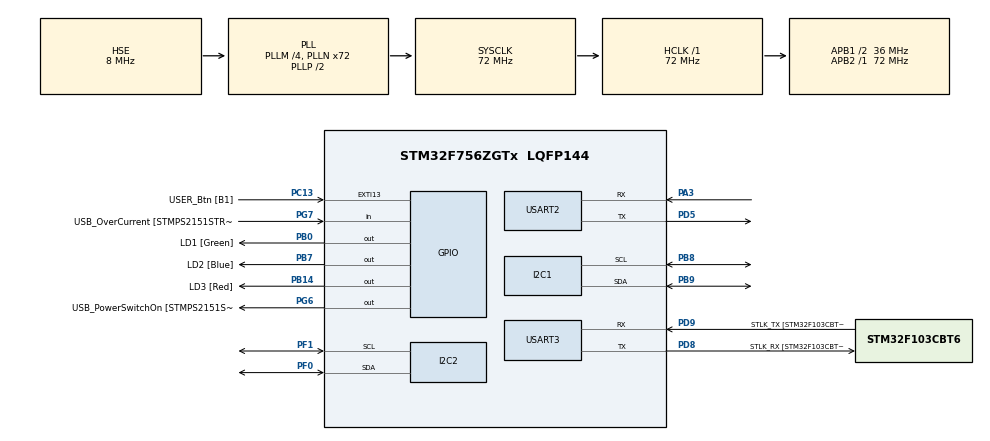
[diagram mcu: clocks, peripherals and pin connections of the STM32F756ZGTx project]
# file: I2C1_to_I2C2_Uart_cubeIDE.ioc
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I2C1.OwnAddress=0x10
I2C1.Timing=0x00808CD2
I2C2.OwnAddress=0x22
I2C2.Timing=0x00808CD2
Mcu.Family=STM32F7
Mcu.Name=STM32F756ZGTx
Mcu.Package=LQFP144
NVIC.EXTI15_10_IRQn=true\:0\:0\:false\:false\:true\:true\:true\:true
NVIC.I2C1_EV_IRQn=true\:0\:0\:false\:false\:true\:true\:true\:true
NVIC.I2C2_EV_IRQn=true\:0\:0\:false\:false\:true\:true\:true\:true
NVIC.PriorityGroup=NVIC_PRIORITYGROUP_4
NVIC.USART2_IRQn=true\:0\:0\:false\:false\:true\:true\:true\:true
PA1.GPIO_Label=RMII_REF_CLK [LAN8742A-CZ-TR_REFCLK0]
PA1.Signal=ETH_REF_CLK
PA10.GPIO_Label=USB_ID
PA10.Signal=USB_OTG_FS_ID
PA11.GPIO_Label=USB_DM
PA11.Signal=USB_OTG_FS_DM
PA12.GPIO_Label=USB_DP
PA12.Signal=USB_OTG_FS_DP
PA13.GPIO_Label=TMS
PA13.Mode=Serial_Wire
PA13.Signal=SYS_JTMS-SWDIO
PA14.GPIO_Label=TCK
PA14.Mode=Serial_Wire
PA14.Signal=SYS_JTCK-SWCLK
PA2.GPIO_Label=RMII_MDIO [LAN8742A-CZ-TR_MDIO]
PA2.Signal=ETH_MDIO
PA3.Mode=Asynchronous
PA3.Signal=USART2_RX
PA7.GPIO_Label=RMII_CRS_DV [LAN8742A-CZ-TR_CRS_DV]
PA7.Signal=ETH_CRS_DV
PA8.GPIO_Label=USB_SOF [TP1]
PA8.Signal=USB_OTG_FS_SOF
PA9.GPIO_Label=USB_VBUS
PA9.Signal=USB_OTG_FS_VBUS
PB0.GPIO_Label=LD1 [Green]
PB0.Signal=GPIO_Output
PB13.GPIO_Label=RMII_TXD1 [LAN8742A-CZ-TR_TXD1]
PB13.Signal=ETH_TXD1
PB14.GPIO_Label=LD3 [Red]
PB14.Signal=GPIO_Output
PB3.GPIO_Label=SW0
PB3.Signal=SYS_JTDO-SWO
PB7.GPIO_Label=LD2 [Blue]
PB7.Signal=GPIO_Output
PB8.GPIO_Pu=GPIO_PULLUP
PB8.Mode=I2C
PB8.Signal=I2C1_SCL
PB9.GPIO_Pu=GPIO_PULLUP
PB9.Mode=I2C
PB9.Signal=I2C1_SDA
PC1.GPIO_Label=RMII_MDC [LAN8742A-CZ-TR_MDC]
PC1.Signal=ETH_MDC
PC13.GPIO_Label=USER_Btn [B1]
PC13.Signal=GPXTI13
PC14/OSC32_IN.Mode=LSE-External-Oscillator
PC14/OSC32_IN.Signal=RCC_OSC32_IN
PC15/OSC32_OUT.Mode=LSE-External-Oscillator
PC15/OSC32_OUT.Signal=RCC_OSC32_OUT
PC4.GPIO_Label=RMII_RXD0 [LAN8742A-CZ-TR_RXD0]
PC4.Signal=ETH_RXD0
PC5.GPIO_Label=RMII_RXD1 [LAN8742A-CZ-TR_RXD1]
PC5.Signal=ETH_RXD1
PD5.Mode=Asynchronous
PD5.Signal=USART2_TX
PD8.GPIO_Label=STLK_RX [STM32F103CBT6_PA3]
PD8.Mode=Asynchronous
PD8.Signal=USART3_TX
PD9.GPIO_Label=STLK_TX [STM32F103CBT6_PA2]
PD9.Mode=Asynchronous
PD9.Signal=USART3_RX
PF0.GPIO_Pu=GPIO_PULLUP
PF0.Mode=I2C
PF0.Signal=I2C2_SDA
PF1.GPIO_Pu=GPIO_PULLUP
PF1.Mode=I2C
PF1.Signal=I2C2_SCL
PG11.GPIO_Label=RMII_TX_EN [LAN8742A-CZ-TR_TXEN]
PG11.Signal=ETH_TX_EN
PG13.GPIO_Label=RMII_TXD0 [LAN8742A-CZ-TR_TXD0]
PG13.Signal=ETH_TXD0
PG6.GPIO_Label=USB_PowerSwitchOn [STMPS2151STR_EN]
PG6.Signal=GPIO_Output
PG7.GPIO_Label=USB_OverCurrent [STMPS2151STR_FAULT]
PG7.Signal=GPIO_Input
PH0/OSC_IN.GPIO_Label=MCO [STM32F103CBT6_PA8]
PH0/OSC_IN.Mode=HSE-External-Clock-Source
PH0/OSC_IN.Signal=RCC_OSC_IN
PH1/OSC_OUT.Mode=HSE-External-Clock-Source
PH1/OSC_OUT.Signal=RCC_OSC_OUT
ProjectManager.HeapSize=0x200
ProjectManager.StackSize=0x400
ProjectManager.TargetToolchain=STM32CubeIDE
RCC.48MHZClocksFreq_Value=24000000
RCC.AHBFreq_Value=72000000
RCC.APB1CLKDivider=RCC_HCLK_DIV2
RCC.APB1Freq_Value=36000000
RCC.APB1TimFreq_Value=72000000
RCC.APB2Freq_Value=72000000
RCC.APB2TimFreq_Value=72000000
RCC.CortexFreq_Value=72000000
RCC.HCLKFreq_Value=72000000
RCC.HSE_VALUE=8000000
RCC.HSI_VALUE=16000000
RCC.PLLM=4
RCC.PLLMUL=RCC_PLL_MUL9
RCC.PLLN=72
RCC.PLLQ=3
RCC.PLLSourceVirtual=RCC_PLLSOURCE_HSE
RCC.PRESCALERUSB=RCC_USBCLKSOURCE_PLL_DIV1_5
RCC.SYSCLKFreq_VALUE=72000000
RCC.SYSCLKSource=RCC_SYSCLKSOURCE_PLLCLK
RCC.SYSCLKSourceVirtual=RCC_SYSCLKSOURCE_PLLCLK
RCC.USBFreq_Value=48000000
RCC.VCOOutputFreq_Value=144000000
USART2.VirtualMode-Asynchronous=VM_ASYNC
USART3.VirtualMode-Asynchronous=VM_ASYNC
board=NUCLEO-F756ZG

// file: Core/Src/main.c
/* USER CODE BEGIN Header */
/**
  ******************************************************************************
  * @file           : main.c
  * @brief          : Main program body
  ******************************************************************************
  * @attention
  *
  * Copyright (c) 2025 STMicroelectronics.
  * All rights reserved.
  *
  * This software is licensed under terms that can be found in the LICENSE file
  * in the root directory of this software component.
  * If no LICENSE file comes with this software, it is provided AS-IS.
  *
  ******************************************************************************
  */
/* USER CODE END Header */
#include "main.h"

/* USER CODE BEGIN Includes */
#include <stdio.h>
#include <string.h>
#include "crc.h"
#include "serials.h"

/* USER CODE END Includes */

/* USER CODE BEGIN PM */
#define UART_BUFFER_SIZE 100
#define I2C_BUFFER_SIZE 100
/* USER CODE END PM */

I2C_HandleTypeDef hi2c1;
I2C_HandleTypeDef hi2c2;

UART_HandleTypeDef huart2;
UART_HandleTypeDef huart3;

/* USER CODE BEGIN PV */
uint8_t data_rsv1[I2C_BUFFER_SIZE + 2] = {0};
uint8_t uart_buffer[UART_BUFFER_SIZE + 2] = {0};
uint8_t i2c2_buffer[I2C_BUFFER_SIZE + 2] = {0};
uint8_t urat_data_print[UART_BUFFER_SIZE + 20] = {"UART2 data test \r\n"};

uint8_t uart2_flag_calback = 0;
uint8_t uart2_flag_h = 0;
uint8_t i2c2_flag_h = 0;

uint8_t txBufDynamic[100] = {
    0x00, 0x01, 0x02, 0x03, 0x04, 0x05, 0x06, 0x07,
    0x08, 0x09, 0x0A, 0x0B, 0x0C, 0x0D, 0x0E, 0x0F,
    0x10, 0x11, 0x12, 0x13, 0x14, 0x15, 0x16, 0x17,
    0x18, 0x19, 0x1A, 0x1B, 0x1C, 0x1D, 0x1E, 0x1F,
    0x20, 0x21, 0x22, 0x23, 0x24, 0x25, 0x26, 0x27,
    0x28, 0x29, 0x2A, 0x2B, 0x2C, 0x2D, 0x2E, 0x2F,
    0x30, 0x31, 0x32, 0x33, 0x34, 0x35, 0x36, 0x37,
    0x38, 0x39, 0x3A, 0x3B, 0x3C, 0x3D, 0x3E, 0x3F,
    0x40, 0x41, 0x42, 0x43, 0x44, 0x45, 0x46, 0x47,
    0x48, 0x49, 0x4A, 0x4B, 0x4C, 0x4D, 0x4E, 0x4F,
    0x50, 0x51, 0x52, 0x53, 0x54, 0x55, 0x56, 0x57,
    0x58, 0x59, 0x5A, 0x5B, 0x5C, 0x5D, 0x5E, 0x5F,
    0x60, 0x61, 0x62, 0x63};

int i = 0;
/* USER CODE END PV */

void SystemClock_Config(void);
static void MX_GPIO_Init(void);
static void MX_I2C1_Init(void);
static void MX_I2C2_Init(void);
static void MX_USART2_UART_Init(void);
static void MX_USART3_UART_Init(void);
/* USER CODE BEGIN PFP */
void main_loop(void);
void HAL_I2C_SlaveRxCpltCallback(I2C_HandleTypeDef *hi2c);
void HAL_UART_RxCpltCallback(UART_HandleTypeDef *huart);
/* USER CODE END PFP */

int main(void)
{

  /* MCU Configuration--------------------------------------------------------*/

  /* Reset of all peripherals, Initializes the Flash interface and the Systick. */
  HAL_Init();

  /* USER CODE BEGIN Init */
  // 0123456789
  /* USER CODE END Init */

  /* Configure the system clock */
  SystemClock_Config();

  /* Initialize all configured peripherals */
  MX_GPIO_Init();
  MX_I2C1_Init();
  MX_I2C2_Init();
  MX_USART2_UART_Init();
  MX_USART3_UART_Init();
  /* USER CODE BEGIN 2 */

  // initialize interrupts for I2C2 and UART2

  printf("Starting program\r\n");
  if (HAL_I2C_Slave_Receive_IT(&hi2c2, data_rsv1, 102) != HAL_OK)
  {
    printf("Error setting up I2C slave receive IT\r\n");
    Error_Handler();
  }

  if (HAL_UART_Receive_IT(&huart2, uart_buffer, 10) != HAL_OK)
  {
    printf("Error setting up UART receive IT\r\n");
    Error_Handler();
  }

  /* USER CODE END 2 */

  /* Infinite loop */
  /* USER CODE BEGIN WHILE */
  while (1)
  {
    uint8_t result = check_uart_buffer(uart_buffer, &uart2_flag_calback, UART_BUFFER_SIZE);
    if (result == 0)
    {
      printf("UART buffer transfer complete\r\n");
      result = check_i2c2_buffer(data_rsv1, &i2c2_flag_h, I2C_BUFFER_SIZE);
      if (result == 0)
      {
        printf("I2C buffer transfer complete\r\n");
        HAL_UART_Transmit(&huart2, (uint8_t *)"The data received OK\r\n", 22, 1000);
      }
    }
    HAL_Delay(1);

    /* USER CODE END WHILE */

  }
}

void SystemClock_Config(void)
{
  RCC_OscInitTypeDef RCC_OscInitStruct = {0};
  RCC_ClkInitTypeDef RCC_ClkInitStruct = {0};

  /** Configure LSE Drive Capability
  */
  HAL_PWR_EnableBkUpAccess();

  /** Configure the main internal regulator output voltage
  */
  __HAL_RCC_PWR_CLK_ENABLE();
  __HAL_PWR_VOLTAGESCALING_CONFIG(PWR_REGULATOR_VOLTAGE_SCALE3);

  /** Initializes the RCC Oscillators according to the specified parameters
  * in the RCC_OscInitTypeDef structure.
  */
  RCC_OscInitStruct.OscillatorType = RCC_OSCILLATORTYPE_HSE;
  RCC_OscInitStruct.HSEState = RCC_HSE_BYPASS;
  RCC_OscInitStruct.PLL.PLLState = RCC_PLL_ON;
  RCC_OscInitStruct.PLL.PLLSource = RCC_PLLSOURCE_HSE;
  RCC_OscInitStruct.PLL.PLLM = 4;
  RCC_OscInitStruct.PLL.PLLN = 72;
  RCC_OscInitStruct.PLL.PLLP = RCC_PLLP_DIV2;
  RCC_OscInitStruct.PLL.PLLQ = 3;
  if (HAL_RCC_OscConfig(&RCC_OscInitStruct) != HAL_OK)
  {
    Error_Handler();
  }

  /** Initializes the CPU, AHB and APB buses clocks
  */
  RCC_ClkInitStruct.ClockType = RCC_CLOCKTYPE_HCLK|RCC_CLOCKTYPE_SYSCLK
                              |RCC_CLOCKTYPE_PCLK1|RCC_CLOCKTYPE_PCLK2;
  RCC_ClkInitStruct.SYSCLKSource = RCC_SYSCLKSOURCE_PLLCLK;
  RCC_ClkInitStruct.AHBCLKDivider = RCC_SYSCLK_DIV1;
  RCC_ClkInitStruct.APB1CLKDivider = RCC_HCLK_DIV2;
  RCC_ClkInitStruct.APB2CLKDivider = RCC_HCLK_DIV1;

  if (HAL_RCC_ClockConfig(&RCC_ClkInitStruct, FLASH_LATENCY_2) != HAL_OK)
  {
    Error_Handler();
  }
}

static void MX_I2C1_Init(void)
{

  hi2c1.Instance = I2C1;
  hi2c1.Init.Timing = 0x00808CD2;
  hi2c1.Init.OwnAddress1 = 32;
  hi2c1.Init.AddressingMode = I2C_ADDRESSINGMODE_7BIT;
  hi2c1.Init.DualAddressMode = I2C_DUALADDRESS_DISABLE;
  hi2c1.Init.OwnAddress2 = 0;
  hi2c1.Init.OwnAddress2Masks = I2C_OA2_NOMASK;
  hi2c1.Init.GeneralCallMode = I2C_GENERALCALL_DISABLE;
  hi2c1.Init.NoStretchMode = I2C_NOSTRETCH_DISABLE;
  if (HAL_I2C_Init(&hi2c1) != HAL_OK)
  {
    Error_Handler();
  }

  /** Configure Analogue filter
  */
  if (HAL_I2CEx_ConfigAnalogFilter(&hi2c1, I2C_ANALOGFILTER_ENABLE) != HAL_OK)
  {
    Error_Handler();
  }

  /** Configure Digital filter
  */
  if (HAL_I2CEx_ConfigDigitalFilter(&hi2c1, 0) != HAL_OK)
  {
    Error_Handler();
  }

}

static void MX_I2C2_Init(void)
{

  hi2c2.Instance = I2C2;
  hi2c2.Init.Timing = 0x00808CD2;
  hi2c2.Init.OwnAddress1 = 68;
  hi2c2.Init.AddressingMode = I2C_ADDRESSINGMODE_7BIT;
  hi2c2.Init.DualAddressMode = I2C_DUALADDRESS_DISABLE;
  hi2c2.Init.OwnAddress2 = 0;
  hi2c2.Init.OwnAddress2Masks = I2C_OA2_NOMASK;
  hi2c2.Init.GeneralCallMode = I2C_GENERALCALL_DISABLE;
  hi2c2.Init.NoStretchMode = I2C_NOSTRETCH_DISABLE;
  if (HAL_I2C_Init(&hi2c2) != HAL_OK)
  {
    Error_Handler();
  }

  /** Configure Analogue filter
  */
  if (HAL_I2CEx_ConfigAnalogFilter(&hi2c2, I2C_ANALOGFILTER_ENABLE) != HAL_OK)
  {
    Error_Handler();
  }

  /** Configure Digital filter
  */
  if (HAL_I2CEx_ConfigDigitalFilter(&hi2c2, 0) != HAL_OK)
  {
    Error_Handler();
  }

}

static void MX_USART2_UART_Init(void)
{

  huart2.Instance = USART2;
  huart2.Init.BaudRate = 115200;
  huart2.Init.WordLength = UART_WORDLENGTH_8B;
  huart2.Init.StopBits = UART_STOPBITS_1;
  huart2.Init.Parity = UART_PARITY_NONE;
  huart2.Init.Mode = UART_MODE_TX_RX;
  huart2.Init.HwFlowCtl = UART_HWCONTROL_NONE;
  huart2.Init.OverSampling = UART_OVERSAMPLING_16;
  huart2.Init.OneBitSampling = UART_ONE_BIT_SAMPLE_DISABLE;
  huart2.AdvancedInit.AdvFeatureInit = UART_ADVFEATURE_NO_INIT;
  if (HAL_UART_Init(&huart2) != HAL_OK)
  {
    Error_Handler();
  }

}

static void MX_USART3_UART_Init(void)
{

  huart3.Instance = USART3;
  huart3.Init.BaudRate = 115200;
  huart3.Init.WordLength = UART_WORDLENGTH_8B;
  huart3.Init.StopBits = UART_STOPBITS_1;
  huart3.Init.Parity = UART_PARITY_NONE;
  huart3.Init.Mode = UART_MODE_TX_RX;
  huart3.Init.HwFlowCtl = UART_HWCONTROL_NONE;
  huart3.Init.OverSampling = UART_OVERSAMPLING_16;
  huart3.Init.OneBitSampling = UART_ONE_BIT_SAMPLE_DISABLE;
  huart3.AdvancedInit.AdvFeatureInit = UART_ADVFEATURE_NO_INIT;
  if (HAL_UART_Init(&huart3) != HAL_OK)
  {
    Error_Handler();
  }

}

static void MX_GPIO_Init(void)
{
  GPIO_InitTypeDef GPIO_InitStruct = {0};

  /* GPIO Ports Clock Enable */
  __HAL_RCC_GPIOC_CLK_ENABLE();
  __HAL_RCC_GPIOF_CLK_ENABLE();
  __HAL_RCC_GPIOH_CLK_ENABLE();
  __HAL_RCC_GPIOA_CLK_ENABLE();
  __HAL_RCC_GPIOB_CLK_ENABLE();
  __HAL_RCC_GPIOD_CLK_ENABLE();
  __HAL_RCC_GPIOG_CLK_ENABLE();

  /*Configure GPIO pin Output Level */
  HAL_GPIO_WritePin(GPIOB, LD1_Pin|LD3_Pin|LD2_Pin, GPIO_PIN_RESET);

  /*Configure GPIO pin Output Level */
  HAL_GPIO_WritePin(USB_PowerSwitchOn_GPIO_Port, USB_PowerSwitchOn_Pin, GPIO_PIN_RESET);

  /*Configure GPIO pin : USER_Btn_Pin */
  GPIO_InitStruct.Pin = USER_Btn_Pin;
  GPIO_InitStruct.Mode = GPIO_MODE_IT_RISING;
  GPIO_InitStruct.Pull = GPIO_NOPULL;
  HAL_GPIO_Init(USER_Btn_GPIO_Port, &GPIO_InitStruct);

  /*Configure GPIO pins : RMII_MDC_Pin RMII_RXD0_Pin RMII_RXD1_Pin */
  GPIO_InitStruct.Pin = RMII_MDC_Pin|RMII_RXD0_Pin|RMII_RXD1_Pin;
  GPIO_InitStruct.Mode = GPIO_MODE_AF_PP;
  GPIO_InitStruct.Pull = GPIO_NOPULL;
  GPIO_InitStruct.Speed = GPIO_SPEED_FREQ_VERY_HIGH;
  GPIO_InitStruct.Alternate = GPIO_AF11_ETH;
  HAL_GPIO_Init(GPIOC, &GPIO_InitStruct);

  /*Configure GPIO pins : RMII_REF_CLK_Pin RMII_MDIO_Pin RMII_CRS_DV_Pin */
  GPIO_InitStruct.Pin = RMII_REF_CLK_Pin|RMII_MDIO_Pin|RMII_CRS_DV_Pin;
  GPIO_InitStruct.Mode = GPIO_MODE_AF_PP;
  GPIO_InitStruct.Pull = GPIO_NOPULL;
  GPIO_InitStruct.Speed = GPIO_SPEED_FREQ_VERY_HIGH;
  GPIO_InitStruct.Alternate = GPIO_AF11_ETH;
  HAL_GPIO_Init(GPIOA, &GPIO_InitStruct);

  /*Configure GPIO pins : LD1_Pin LD3_Pin LD2_Pin */
  GPIO_InitStruct.Pin = LD1_Pin|LD3_Pin|LD2_Pin;
  GPIO_InitStruct.Mode = GPIO_MODE_OUTPUT_PP;
  GPIO_InitStruct.Pull = GPIO_NOPULL;
  GPIO_InitStruct.Speed = GPIO_SPEED_FREQ_LOW;
  HAL_GPIO_Init(GPIOB, &GPIO_InitStruct);

  /*Configure GPIO pin : RMII_TXD1_Pin */
  GPIO_InitStruct.Pin = RMII_TXD1_Pin;
  GPIO_InitStruct.Mode = GPIO_MODE_AF_PP;
  GPIO_InitStruct.Pull = GPIO_NOPULL;
  GPIO_InitStruct.Speed = GPIO_SPEED_FREQ_VERY_HIGH;
  GPIO_InitStruct.Alternate = GPIO_AF11_ETH;
  HAL_GPIO_Init(RMII_TXD1_GPIO_Port, &GPIO_InitStruct);

  /*Configure GPIO pin : USB_PowerSwitchOn_Pin */
  GPIO_InitStruct.Pin = USB_PowerSwitchOn_Pin;
  GPIO_InitStruct.Mode = GPIO_MODE_OUTPUT_PP;
  GPIO_InitStruct.Pull = GPIO_NOPULL;
  GPIO_InitStruct.Speed = GPIO_SPEED_FREQ_LOW;
  HAL_GPIO_Init(USB_PowerSwitchOn_GPIO_Port, &GPIO_InitStruct);

  /*Configure GPIO pin : USB_OverCurrent_Pin */
  GPIO_InitStruct.Pin = USB_OverCurrent_Pin;
  GPIO_InitStruct.Mode = GPIO_MODE_INPUT;
  GPIO_InitStruct.Pull = GPIO_NOPULL;
  HAL_GPIO_Init(USB_OverCurrent_GPIO_Port, &GPIO_InitStruct);

  /*Configure GPIO pins : USB_SOF_Pin USB_ID_Pin USB_DM_Pin USB_DP_Pin */
  GPIO_InitStruct.Pin = USB_SOF_Pin|USB_ID_Pin|USB_DM_Pin|USB_DP_Pin;
  GPIO_InitStruct.Mode = GPIO_MODE_AF_PP;
  GPIO_InitStruct.Pull = GPIO_NOPULL;
  GPIO_InitStruct.Speed = GPIO_SPEED_FREQ_VERY_HIGH;
  GPIO_InitStruct.Alternate = GPIO_AF10_OTG_FS;
  HAL_GPIO_Init(GPIOA, &GPIO_InitStruct);

  /*Configure GPIO pin : USB_VBUS_Pin */
  GPIO_InitStruct.Pin = USB_VBUS_Pin;
  GPIO_InitStruct.Mode = GPIO_MODE_INPUT;
  GPIO_InitStruct.Pull = GPIO_NOPULL;
  HAL_GPIO_Init(USB_VBUS_GPIO_Port, &GPIO_InitStruct);

  /*Configure GPIO pins : RMII_TX_EN_Pin RMII_TXD0_Pin */
  GPIO_InitStruct.Pin = RMII_TX_EN_Pin|RMII_TXD0_Pin;
  GPIO_InitStruct.Mode = GPIO_MODE_AF_PP;
  GPIO_InitStruct.Pull = GPIO_NOPULL;
  GPIO_InitStruct.Speed = GPIO_SPEED_FREQ_VERY_HIGH;
  GPIO_InitStruct.Alternate = GPIO_AF11_ETH;
  HAL_GPIO_Init(GPIOG, &GPIO_InitStruct);

  /* EXTI interrupt init*/
  HAL_NVIC_SetPriority(EXTI15_10_IRQn, 0, 0);
  HAL_NVIC_EnableIRQ(EXTI15_10_IRQn);

}

void Error_Handler(void)
{
  /* USER CODE BEGIN Error_Handler_Debug */
  /* User can add his own implementation to report the HAL error return state */
  __disable_irq();
  while (1)
  {
    HAL_GPIO_TogglePin(LD3_GPIO_Port, LD3_Pin);
    HAL_Delay(500);
  }
  /* USER CODE END Error_Handler_Debug */
}
